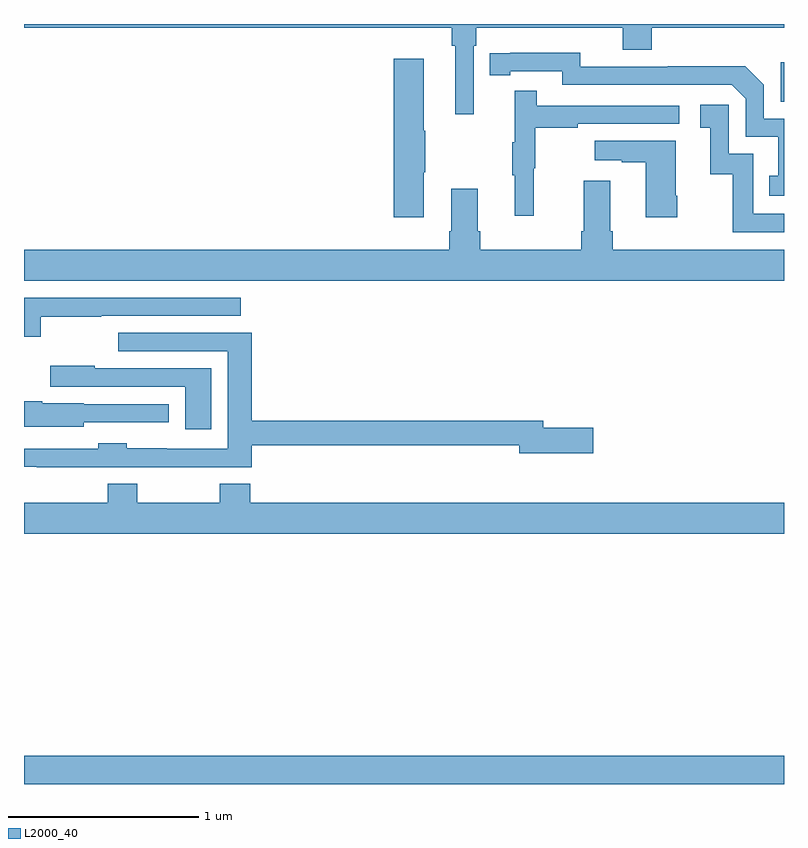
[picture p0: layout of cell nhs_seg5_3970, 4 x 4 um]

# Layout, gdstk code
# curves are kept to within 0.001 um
import gdstk
lib = gdstk.Library(unit=1e-6, precision=1e-09)
def R(c, l, rs):  # rectangles x0, y0, x1, y1
    for r in rs: c.add(gdstk.rectangle(r[:2], r[2:], *l))
def P(c, l, *ps):  # polygons
    for p in ps: c.add(gdstk.Polygon(p, *l))
L2000_40 = (2000, 40)

nhs_seg5_3970 = lib.new_cell('nhs_seg5_3970')
R(nhs_seg5_3970, L2000_40, [(345,832.799,349,832.948), (348.984,836.391,349,836.599)])
P(nhs_seg5_3970, L2000_40, [(347.367,836.684),(347.381,836.684),(347.381,836.78),(348.152,836.78),(348.152,836.663),(348.305,836.663),(348.305,836.78),(349,836.78),(349,836.799),(345,836.799),(345,836.78),(347.251,836.78),(347.251,836.684),(347.27,836.684),(347.27,836.325),(347.367,836.325)],
  [(349,836.301),(348.894,836.301),(348.894,836.478),(348.796,836.576),(348.388,836.576),(348.388,836.574),(347.928,836.574),(347.928,836.647),(347.452,836.646),(347.452,836.53),(347.56,836.53),(347.56,836.55),(347.832,836.55),(347.832,836.478),(348.726,836.478),(348.798,836.406),(348.798,836.205),(348.971,836.205),(348.971,836.001),(348.922,836.001),(348.922,835.896),(349,835.896)],
  [(347.104,836.02),(347.112,836.02),(347.112,836.237),(347.104,836.237),(347.104,836.617),(346.946,836.617),(346.946,835.782),(347.104,835.782)],
  [(347.684,836.04),(347.692,836.04),(347.692,836.254),(347.915,836.254),(347.915,836.274),(348.448,836.274),(348.448,836.37),(347.699,836.37),(347.699,836.449),(347.582,836.449),(347.582,836.177),(347.571,836.177),(347.571,836.003),(347.582,836.003),(347.582,835.791),(347.684,835.791)],
  [(349,835.8),(348.837,835.8),(348.837,836.115),(348.708,836.115),(348.708,836.374),(348.558,836.374),(348.558,836.253),(348.611,836.253),(348.611,836.007),(348.729,836.007),(348.729,835.704),(349,835.704)],
  [(348.438,835.894),(348.43,835.894),(348.43,836.185),(348.003,836.185),(348.003,836.081),(348.146,836.081),(348.146,836.071),(348.272,836.071),(348.272,835.782),(348.438,835.782)],
  [(349,835.612),(348.098,835.612),(348.098,835.708),(348.085,835.708),(348.085,835.975),(347.945,835.975),(347.945,835.708),(347.933,835.708),(347.933,835.612),(347.402,835.612),(347.402,835.708),(347.389,835.708),(347.389,835.933),(347.249,835.933),(347.249,835.708),(347.237,835.708),(347.237,835.612),(345,835.612),(345,835.448),(349,835.448)],
  [(345.089,835.258),(345.407,835.258),(345.407,835.263),(346.141,835.263),(346.141,835.359),(345,835.359),(345,835.152),(345.089,835.152)],
  [(346.199,834.582),(347.606,834.582),(347.606,834.539),(347.995,834.539),(347.995,834.674),(347.734,834.674),(347.734,834.71),(346.199,834.71),(346.199,835.173),(345.495,835.173),(345.495,835.077),(346.073,835.077),(346.073,834.564),(345.752,834.564),(345.752,834.565),(345.54,834.565),(345.54,834.592),(345.39,834.592),(345.39,834.564),(345,834.564),(345,834.468),(345.067,834.468),(345.067,834.467),(346.199,834.467)],
  [(345.985,834.987),(345.373,834.987),(345.373,835),(345.137,835),(345.137,834.891),(345.848,834.891),(345.848,834.666),(345.985,834.666)],
  [(345.315,834.702),(345.763,834.702),(345.763,834.798),(345.315,834.798),(345.315,834.802),(345.096,834.802),(345.096,834.813),(345,834.813),(345,834.68),(345.315,834.68)],
  [(349,834.28),(346.19,834.28),(346.19,834.379),(346.03,834.379),(346.03,834.28),(345.597,834.28),(345.597,834.379),(345.442,834.379),(345.442,834.28),(345,834.28),(345,834.116),(349,834.116)])

lib.write_gds('nhs_seg5_3970.gds')
